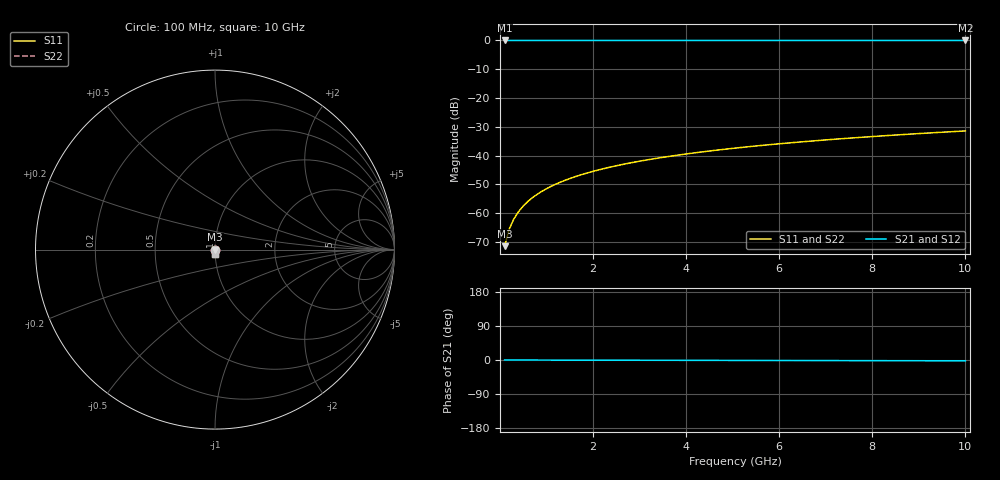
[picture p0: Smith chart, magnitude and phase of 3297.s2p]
# Hz S RI R 50.00
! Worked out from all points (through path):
!   100 points, 100 MHz to 10 GHz, reference 50 ohm
!   highest |S21| = 0.00 dB at 100 MHz (marker M1); lowest = 0.0 dB at 10 GHz (marker M2)
!   lowest |S11| = -71.4 dB at 100 MHz (marker M3), VSWR 1.00, Z = 50 - j0.0267 ohm
!   |S11| at or under -10 dB: start of sweep to end of sweep
!   |S22| runs from -71.4 to -31.4 dB; largest |S21 - S12| = 0
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1e8  2.67e-05 -0.000267  1 -0.000378  1 -0.000378  2.67e-05 -0.000267
2e8  2.63e-05 -0.000533  1 -0.000756  1 -0.000756  2.63e-05 -0.000533
3e8  2.56e-05 -0.0008  1 -0.00113  1 -0.00113  2.56e-05 -0.0008
4e8  2.47e-05 -0.00107  1 -0.00151  1 -0.00151  2.47e-05 -0.00107
5e8  2.36e-05 -0.00133  1 -0.00189  1 -0.00189  2.36e-05 -0.00133
6e8  2.23e-05 -0.0016  1 -0.00227  1 -0.00227  2.23e-05 -0.0016
7e8  2.07e-05 -0.00187  1 -0.00265  1 -0.00265  2.07e-05 -0.00187
8e8  1.9e-05 -0.00213  1 -0.00302  1 -0.00302  1.9e-05 -0.00213
9e8  1.7e-05 -0.0024  1 -0.0034  1 -0.0034  1.7e-05 -0.0024
1.1e9  1.25e-05 -0.00293  1 -0.00416  1 -0.00416  1.25e-05 -0.00293
1.4e9  4.15e-06 -0.00373  0.9999 -0.00529  0.9999 -0.00529  4.15e-06 -0.00373
1.8e9  -9.81e-06 -0.0048  0.9999 -0.00681  0.9999 -0.00681  -9.81e-06 -0.0048
2.1e9  -2.24e-05 -0.0056  0.9999 -0.00794  0.9999 -0.00794  -2.24e-05 -0.0056
2.5e9  -4.21e-05 -0.00667  0.9999 -0.00946  0.9999 -0.00946  -4.21e-05 -0.00667
2.9e9  -6.5e-05 -0.00774  0.9999 -0.011  0.9999 -0.011  -6.5e-05 -0.00774
3.4e9  -9.83e-05 -0.00908  0.9998 -0.0129  0.9998 -0.0129  -9.83e-05 -0.00908
4.2e9  -0.000162 -0.0112  0.9998 -0.0159  0.9998 -0.0159  -0.000162 -0.0112
5.1e9  -0.00025 -0.0136  0.9997 -0.0193  0.9997 -0.0193  -0.00025 -0.0136
5.9e9  -0.000341 -0.0158  0.9996 -0.0224  0.9996 -0.0224  -0.000341 -0.0158
6.7e9  -0.000447 -0.0179  0.9995 -0.0254  0.9995 -0.0254  -0.000447 -0.0179
8.4e9  -0.000714 -0.0225  0.9992 -0.0319  0.9992 -0.0319  -0.000714 -0.0225
1e10  -0.00102 -0.0268  0.9989 -0.038  0.9989 -0.038  -0.00102 -0.0268
